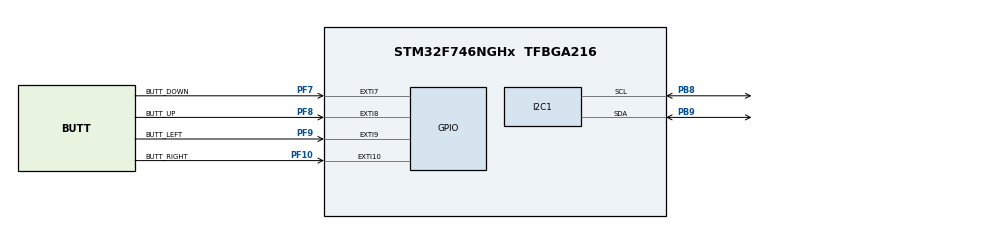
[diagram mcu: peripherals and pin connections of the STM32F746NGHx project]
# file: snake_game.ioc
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FREERTOS.Tasks01=defaultTask,0,128,StartDefaultTask,Default,NULL,Dynamic,NULL,NULL;SnakeMove,0,128,StartSnakeMove,Default,NULL,Dynamic,NULL,NULL;DrawSnake,0,128,StartDrawSnake,Default,NULL,Dynamic,NULL,NULL
Mcu.Family=STM32F7
Mcu.Name=STM32F746NGHx
Mcu.Package=TFBGA216
NVIC.EXTI15_10_IRQn=true\:5\:0\:false\:false\:true\:true\:true\:true
NVIC.EXTI9_5_IRQn=true\:5\:0\:false\:false\:true\:true\:true\:true
NVIC.PriorityGroup=NVIC_PRIORITYGROUP_4
NVIC.RCC_IRQn=true\:5\:0\:false\:false\:true\:true\:true\:false
NVIC.TIM8_TRG_COM_TIM14_IRQn=true\:0\:0\:false\:false\:true\:false\:false\:true
NVIC.TimeBase=TIM8_TRG_COM_TIM14_IRQn
NVIC.TimeBaseIP=TIM14
PA13.Mode=Serial_Wire
PA13.Signal=SYS_JTMS-SWDIO
PA14.Mode=Serial_Wire
PA14.Signal=SYS_JTCK-SWCLK
PB8.Mode=I2C
PB8.Signal=I2C1_SCL
PB9.Mode=I2C
PB9.Signal=I2C1_SDA
PC14/OSC32_IN.Mode=LSE-External-Oscillator
PC14/OSC32_IN.Signal=RCC_OSC32_IN
PC15/OSC32_OUT.Mode=LSE-External-Oscillator
PC15/OSC32_OUT.Signal=RCC_OSC32_OUT
PF10.GPIO_Label=BUTT_RIGHT
PF10.Signal=GPXTI10
PF7.GPIO_Label=BUTT_DOWN
PF7.Signal=GPXTI7
PF8.GPIO_Label=BUTT_UP
PF8.Signal=GPXTI8
PF9.GPIO_Label=BUTT_LEFT
PF9.Signal=GPXTI9
PH0/OSC_IN.Mode=HSE-External-Clock-Source
PH0/OSC_IN.Signal=RCC_OSC_IN
PH1/OSC_OUT.Mode=HSE-External-Clock-Source
PH1/OSC_OUT.Signal=RCC_OSC_OUT
ProjectManager.HeapSize=0x200
ProjectManager.StackSize=0x400
ProjectManager.TargetToolchain=STM32CubeIDE
RCC.HSE_VALUE=25000000
RCC.HSI_VALUE=16000000
RCC.USBFreq_Value=96000000
RCC.VCOOutputFreq_Value=192000000
VP_FREERTOS_VS_CMSIS_V1.Mode=CMSIS_V1
VP_SYS_VS_tim14.Mode=TIM14
board=STM32F746G-DISCO

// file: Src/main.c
/* USER CODE BEGIN Header */
/**
 ******************************************************************************
 * @file           : main.c
 * @brief          : Main program body
 ******************************************************************************
 * @attention
 *
 * <h2><center>&copy; Copyright (c) 2019 STMicroelectronics.
 * All rights reserved.</center></h2>
 *
 * This software component is licensed by ST under BSD 3-Clause license,
 * the "License"; You may not use this file except in compliance with the
 * License. You may obtain a copy of the License at:
 *                        opensource.org/licenses/BSD-3-Clause
 *
 ******************************************************************************
 */
/* USER CODE END Header */

#include "main.h"
#include "cmsis_os.h"

/* USER CODE BEGIN Includes */
#include "string.h"
/* USER CODE END Includes */

/* USER CODE BEGIN PTD */
typedef enum directions {
	UP, DOWN, LEFT, RIGHT
} direction_t;
typedef enum gamestate{
	START,
	GAME,
	GAME_OVER
}game_state_t;
/* USER CODE END PTD */

/* USER CODE BEGIN PD */
#define I2C_ADDRESS_LEDMATRIX (0b11100000)
/* USER CODE END PD */

I2C_HandleTypeDef hi2c1;

osThreadId defaultTaskHandle;
osThreadId SnakeMoveHandle;
osThreadId DrawSnakeHandle;
/* USER CODE BEGIN PV */
int snake_x = 0;
int snake_y = 0;
direction_t facing = UP;
uint8_t led_array[8];
/* USER CODE END PV */

void SystemClock_Config(void);
static void MX_GPIO_Init(void);
static void MX_I2C1_Init(void);
void StartDefaultTask(void const * argument);
void StartSnakeMove(void const * argument);
void StartDrawSnake(void const * argument);

/* USER CODE BEGIN PFP */
void clear_led_matrix();
void set_led_matrix(uint8_t* data);
/* USER CODE END PFP */

/* USER CODE BEGIN 0 */
void clear_led_matrix() {
	uint8_t buff[2];

	for (int i = 0; i < 16; i++) {
		buff[0] = i;
		buff[1] = 0x00;
		HAL_I2C_Master_Transmit(&hi2c1, I2C_ADDRESS_LEDMATRIX, buff, 2, 100);
	}
}

void set_led_matrix(uint8_t* data) {
	clear_led_matrix();
	uint8_t buff[2];

	for (int i = 0; i < 8; i++) {
		buff[0] = i * 2;
		buff[1] = (data[i] >> 1) | (data[i] << 7);
		HAL_I2C_Master_Transmit(&hi2c1, I2C_ADDRESS_LEDMATRIX, buff, 2, 100);
	}
}

/* USER CODE END 0 */

int main(void)
{

  /* MCU Configuration--------------------------------------------------------*/

  /* Reset of all peripherals, Initializes the Flash interface and the Systick. */
  HAL_Init();

  /* Configure the system clock */
  SystemClock_Config();

  /* Initialize all configured peripherals */
  MX_GPIO_Init();
  MX_I2C1_Init();
  /* USER CODE BEGIN 2 */
	//init LED matrix
	uint8_t init1 = 0b00100001;
	uint8_t init2 = 0b10000001;

	HAL_I2C_Master_Transmit(&hi2c1, I2C_ADDRESS_LEDMATRIX, &init1, 1, 100);
	HAL_I2C_Master_Transmit(&hi2c1, I2C_ADDRESS_LEDMATRIX, &init2, 1, 100);

	//data matrix

  /* USER CODE END 2 */

  /* Create the thread(s) */
  /* definition and creation of defaultTask */
  osThreadDef(defaultTask, StartDefaultTask, osPriorityNormal, 0, 128);
  defaultTaskHandle = osThreadCreate(osThread(defaultTask), NULL);

  /* definition and creation of SnakeMove */
  osThreadDef(SnakeMove, StartSnakeMove, osPriorityNormal, 0, 128);
  SnakeMoveHandle = osThreadCreate(osThread(SnakeMove), NULL);

  /* definition and creation of DrawSnake */
  osThreadDef(DrawSnake, StartDrawSnake, osPriorityNormal, 0, 128);
  DrawSnakeHandle = osThreadCreate(osThread(DrawSnake), NULL);

  /* Start scheduler */
  osKernelStart();

  /* We should never get here as control is now taken by the scheduler */

  /* Infinite loop */
	while (1) {

	}
}

void SystemClock_Config(void)
{
  RCC_OscInitTypeDef RCC_OscInitStruct = {0};
  RCC_ClkInitTypeDef RCC_ClkInitStruct = {0};
  RCC_PeriphCLKInitTypeDef PeriphClkInitStruct = {0};

  /** Configure LSE Drive Capability
  */
  HAL_PWR_EnableBkUpAccess();
  /** Configure the main internal regulator output voltage
  */
  __HAL_RCC_PWR_CLK_ENABLE();
  __HAL_PWR_VOLTAGESCALING_CONFIG(PWR_REGULATOR_VOLTAGE_SCALE3);
  /** Initializes the CPU, AHB and APB busses clocks
  */
  RCC_OscInitStruct.OscillatorType = RCC_OSCILLATORTYPE_HSI;
  RCC_OscInitStruct.HSIState = RCC_HSI_ON;
  RCC_OscInitStruct.HSICalibrationValue = RCC_HSICALIBRATION_DEFAULT;
  RCC_OscInitStruct.PLL.PLLState = RCC_PLL_NONE;
  if (HAL_RCC_OscConfig(&RCC_OscInitStruct) != HAL_OK)
  {
    Error_Handler();
  }
  /** Initializes the CPU, AHB and APB busses clocks
  */
  RCC_ClkInitStruct.ClockType = RCC_CLOCKTYPE_HCLK|RCC_CLOCKTYPE_SYSCLK
                              |RCC_CLOCKTYPE_PCLK1|RCC_CLOCKTYPE_PCLK2;
  RCC_ClkInitStruct.SYSCLKSource = RCC_SYSCLKSOURCE_HSI;
  RCC_ClkInitStruct.AHBCLKDivider = RCC_SYSCLK_DIV1;
  RCC_ClkInitStruct.APB1CLKDivider = RCC_HCLK_DIV1;
  RCC_ClkInitStruct.APB2CLKDivider = RCC_HCLK_DIV1;

  if (HAL_RCC_ClockConfig(&RCC_ClkInitStruct, FLASH_LATENCY_0) != HAL_OK)
  {
    Error_Handler();
  }
  PeriphClkInitStruct.PeriphClockSelection = RCC_PERIPHCLK_I2C1;
  PeriphClkInitStruct.I2c1ClockSelection = RCC_I2C1CLKSOURCE_PCLK1;
  if (HAL_RCCEx_PeriphCLKConfig(&PeriphClkInitStruct) != HAL_OK)
  {
    Error_Handler();
  }
}

static void MX_I2C1_Init(void)
{

  hi2c1.Instance = I2C1;
  hi2c1.Init.Timing = 0x00303D5B;
  hi2c1.Init.OwnAddress1 = 0;
  hi2c1.Init.AddressingMode = I2C_ADDRESSINGMODE_7BIT;
  hi2c1.Init.DualAddressMode = I2C_DUALADDRESS_DISABLE;
  hi2c1.Init.OwnAddress2 = 0;
  hi2c1.Init.OwnAddress2Masks = I2C_OA2_NOMASK;
  hi2c1.Init.GeneralCallMode = I2C_GENERALCALL_DISABLE;
  hi2c1.Init.NoStretchMode = I2C_NOSTRETCH_DISABLE;
  if (HAL_I2C_Init(&hi2c1) != HAL_OK)
  {
    Error_Handler();
  }
  /** Configure Analogue filter
  */
  if (HAL_I2CEx_ConfigAnalogFilter(&hi2c1, I2C_ANALOGFILTER_ENABLE) != HAL_OK)
  {
    Error_Handler();
  }
  /** Configure Digital filter
  */
  if (HAL_I2CEx_ConfigDigitalFilter(&hi2c1, 0) != HAL_OK)
  {
    Error_Handler();
  }

}

static void MX_GPIO_Init(void)
{
  GPIO_InitTypeDef GPIO_InitStruct = {0};

  /* GPIO Ports Clock Enable */
  __HAL_RCC_GPIOB_CLK_ENABLE();
  __HAL_RCC_GPIOA_CLK_ENABLE();
  __HAL_RCC_GPIOC_CLK_ENABLE();
  __HAL_RCC_GPIOH_CLK_ENABLE();
  __HAL_RCC_GPIOF_CLK_ENABLE();

  /*Configure GPIO pins : BUTT_DOWN_Pin BUTT_RIGHT_Pin BUTT_LEFT_Pin BUTT_UP_Pin */
  GPIO_InitStruct.Pin = BUTT_DOWN_Pin|BUTT_RIGHT_Pin|BUTT_LEFT_Pin|BUTT_UP_Pin;
  GPIO_InitStruct.Mode = GPIO_MODE_IT_RISING;
  GPIO_InitStruct.Pull = GPIO_NOPULL;
  HAL_GPIO_Init(GPIOF, &GPIO_InitStruct);

  /* EXTI interrupt init*/
  HAL_NVIC_SetPriority(EXTI9_5_IRQn, 5, 0);
  HAL_NVIC_EnableIRQ(EXTI9_5_IRQn);

  HAL_NVIC_SetPriority(EXTI15_10_IRQn, 5, 0);
  HAL_NVIC_EnableIRQ(EXTI15_10_IRQn);

}

/* USER CODE BEGIN 4 */
void HAL_GPIO_EXTI_Callback(uint16_t GPIO_Pin){
	if(GPIO_Pin == BUTT_DOWN_Pin){
		facing = DOWN;
		osThreadResume(SnakeMoveHandle);
	}
	if(GPIO_Pin == BUTT_UP_Pin){
		facing = UP;
		osThreadResume(SnakeMoveHandle);
	}
	if(GPIO_Pin == BUTT_LEFT_Pin){
		facing = LEFT;
		osThreadResume(SnakeMoveHandle);
	}
	if(GPIO_Pin == BUTT_RIGHT_Pin){
		facing = RIGHT;
		osThreadResume(SnakeMoveHandle);
	}
}
/* USER CODE END 4 */

void StartDefaultTask(void const * argument)
{

	for (;;) {
		osDelay(1);
	}
}

void StartSnakeMove(void const * argument)
{
  /* USER CODE BEGIN StartSnakeMove */
  /* Infinite loop */
  for(;;)
  {
	  switch (facing){
	  case UP:
		  if(snake_y >= 7){
			  snake_y = 0;
		  }
		  snake_y++;
		  osDelay(100);
		  break;
	  case DOWN:
		  if(snake_y <= 0){
			  snake_y = 7;
		  }
		  snake_y--;
		  osDelay(100);
		  break;
	  case LEFT:
		  if(snake_x >= 7){
			  snake_x = 0;
		  }
		  snake_x++;
		  osDelay(100);
		  break;
	  case RIGHT:
		  if(snake_x <= 0){
			  snake_x = 7;
		  }
		  snake_x--;
		  osDelay(100);
		  break;
	  }
    osDelay(1);
    osThreadResume(DrawSnakeHandle);
    osThreadSuspend(SnakeMoveHandle);
  }
  /* USER CODE END StartSnakeMove */
}

void StartDrawSnake(void const * argument)
{
  /* USER CODE BEGIN StartDrawSnake */
  /* Infinite loop */
  for(;;)
  {
	  led_array[snake_x] |= 1<<snake_y;
    set_led_matrix(led_array);
    osDelay(1000);
    clear_led_matrix();

    osThreadResume(SnakeMoveHandle);
    osThreadSuspend(DrawSnakeHandle);
  }
  /* USER CODE END StartDrawSnake */
}

void HAL_TIM_PeriodElapsedCallback(TIM_HandleTypeDef *htim)
{
  if (htim->Instance == TIM14) {
    HAL_IncTick();
  }
}

void Error_Handler(void)
{
}

/************************ (C) COPYRIGHT STMicroelectronics *****END OF FILE****/
